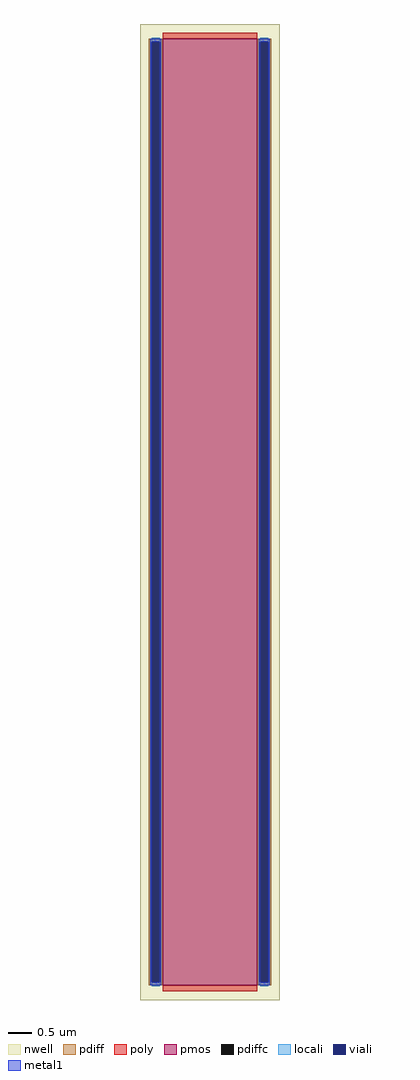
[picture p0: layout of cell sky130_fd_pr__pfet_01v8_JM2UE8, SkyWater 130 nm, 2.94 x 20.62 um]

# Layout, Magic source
magic
tech sky130A
<< nwell >>
rect -147 -1031 147 1031
<< pmos >>
rect -100 -1000 100 1000
<< pdiff >>
rect -129 994 -100 1000
rect -129 -994 -123 994
rect -106 -994 -100 994
rect -129 -1000 -100 -994
rect 100 994 129 1000
rect 100 -994 106 994
rect 123 -994 129 994
rect 100 -1000 129 -994
<< pdiffc >>
rect -123 -994 -106 994
rect 106 -994 123 994
<< poly >>
rect -100 1000 100 1013
rect -100 -1013 100 -1000
<< locali >>
rect -123 994 -106 1002
rect -123 -1002 -106 -994
rect 106 994 123 1002
rect 106 -1002 123 -994
<< viali >>
rect -123 -994 -106 994
rect 106 -994 123 994
<< metal1 >>
rect -126 994 -103 1000
rect -126 -994 -123 994
rect -106 -994 -103 994
rect -126 -1000 -103 -994
rect 103 994 126 1000
rect 103 -994 106 994
rect 123 -994 126 994
rect 103 -1000 126 -994
<< properties >>
string gencell sky130_fd_pr__pfet_01v8
string library sky130
string parameters w 20.0 l 2.0 m 1 nf 1 diffcov 100 polycov 100 guard 0 glc 0 grc 0 gtc 0 gbc 0 tbcov 100 rlcov 100 topc 0 botc 0 poverlap 0 doverlap 1 lmin 0.15 wmin 0.42 compatible {sky130_fd_pr__pfet_01v8  sky130_fd_pr__pfet_01v8_lvt sky130_fd_pr__pfet_01v8_hvt  sky130_fd_pr__pfet_g5v0d10v5} full_metal 0 viasrc 100 viadrn 100 viagate 100 viagb 0 viagr 0 viagl 0 viagt 0
<< end >>
